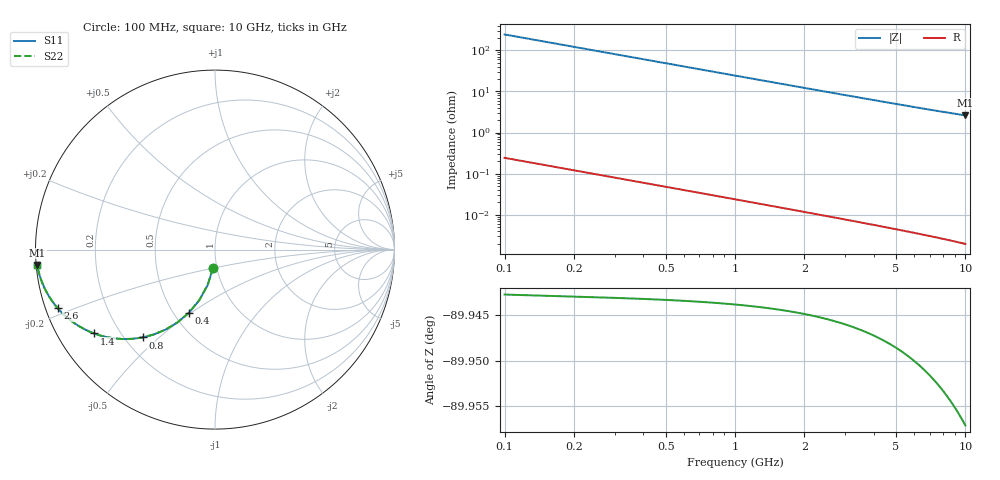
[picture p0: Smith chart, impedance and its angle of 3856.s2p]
# Hz S RI R 50.00
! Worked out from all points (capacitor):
!   100 points, 100 MHz to 10 GHz, reference 50 ohm
!   read as one part in shunt: C = 6.55 pF near 100 MHz
!   lowest |Z| = 2.62 ohm at 10 GHz (marker M1)
!   S11 on the Smith chart (normalised r, x): 100 MHz: 0.96, -0.20; 400 MHz: 0.60, -0.49; 800 MHz: 0.27, -0.44; 1.4 GHz: 0.11, -0.31; 2.6 GHz: 0.03, -0.18; 10 GHz: 0.00, -0.04
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1e8  -0.0106 -0.1017  0.9894 -0.1019  0.9894 -0.1019  -0.0106 -0.1017
2e8  -0.0408 -0.1972  0.9591 -0.1976  0.9591 -0.1976  -0.0408 -0.1972
3e8  -0.0872 -0.2815  0.9127 -0.282  0.9127 -0.282  -0.0872 -0.2815
4e8  -0.1451 -0.3514  0.8548 -0.3521  0.8548 -0.3521  -0.1451 -0.3514
5e8  -0.2095 -0.4061  0.7904 -0.4069  0.7904 -0.4069  -0.2095 -0.4061
6e8  -0.2762 -0.4461  0.7238 -0.4471  0.7238 -0.4471  -0.2762 -0.4461
7e8  -0.3417 -0.4732  0.6583 -0.4744  0.6583 -0.4744  -0.3417 -0.4732
8e8  -0.4039 -0.4895  0.596 -0.4909  0.596 -0.4909  -0.4039 -0.4895
9e8  -0.4616 -0.4972  0.5384 -0.4988  0.5384 -0.4988  -0.4616 -0.4972
1.1e9  -0.5614 -0.4948  0.4386 -0.4967  0.4386 -0.4967  -0.5614 -0.4948
1.2e9  -0.6036 -0.4876  0.3964 -0.4897  0.3964 -0.4897  -0.6036 -0.4876
1.4e9  -0.6744 -0.4669  0.3256 -0.4693  0.3256 -0.4693  -0.6744 -0.4669
1.6e9  -0.73 -0.4421  0.27 -0.4448  0.27 -0.4448  -0.73 -0.4421
1.8e9  -0.7738 -0.4163  0.2262 -0.4194  0.2262 -0.4194  -0.7738 -0.4163
2.2e9  -0.8362 -0.3677  0.1638 -0.3715  0.1638 -0.3715  -0.8362 -0.3677
2.6e9  -0.8769 -0.3257  0.123 -0.3303  0.123 -0.3303  -0.8769 -0.3257
3.4e9  -0.9241 -0.2613  0.0759 -0.2673  0.0759 -0.2673  -0.9241 -0.2613
4.2e9  -0.9489 -0.2159  0.051 -0.2233  0.051 -0.2233  -0.9489 -0.2159
5.1e9  -0.9648 -0.1792  0.0351 -0.1882  0.0351 -0.1882  -0.9648 -0.1792
6.7e9  -0.9794 -0.1354  0.0205 -0.1474  0.0205 -0.1474  -0.9794 -0.1354
8.4e9  -0.9869 -0.1053  0.013 -0.1206  0.013 -0.1206  -0.9869 -0.1053
1e10  -0.9908 -0.0853  0.00901 -0.1037  0.00901 -0.1037  -0.9908 -0.0853
